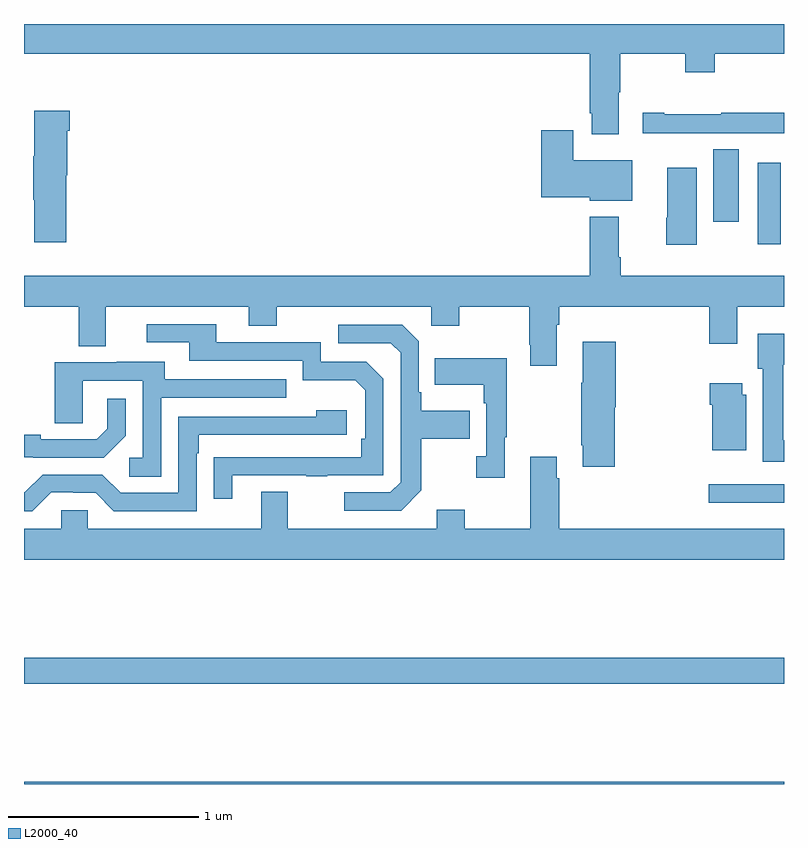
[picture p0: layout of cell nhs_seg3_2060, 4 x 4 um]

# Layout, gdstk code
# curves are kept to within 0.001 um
import gdstk
lib = gdstk.Library(unit=1e-6, precision=1e-09)
def R(c, l, rs):  # rectangles x0, y0, x1, y1
    for r in rs: c.add(gdstk.rectangle(r[:2], r[2:], *l))
def P(c, l, *ps):  # polygons
    for p in ps: c.add(gdstk.Polygon(p, *l))
L2000_40 = (2000, 40)

nhs_seg3_2060 = lib.new_cell('nhs_seg3_2060')
R(nhs_seg3_2060, L2000_40, [(217,702.4,221,702.412), (217,702.928,221,703.064), (220.605,703.88,221,703.977), (220.862,705.24,220.984,705.67), (220.628,705.36,220.762,705.74)])
P(nhs_seg3_2060, L2000_40, [(220.129,706.04),(220.137,706.04),(220.137,706.244),(220.48,706.244),(220.48,706.145),(220.635,706.145),(220.635,706.244),(221,706.244),(221,706.4),(217,706.4),(217,706.244),(219.977,706.244),(219.977,705.931),(219.989,705.931),(219.989,705.819),(220.129,705.819)],
  [(217.223,705.603),(217.228,705.603),(217.228,705.839),(217.241,705.839),(217.241,705.943),(217.055,705.943),(217.055,705.703),(217.048,705.703),(217.048,705.475),(217.055,705.475),(217.055,705.252),(217.223,705.252)],
  [(220.532,705.825),(220.866,705.825),(220.866,705.824),(221,705.824),(221,705.934),(220.67,705.934),(220.67,705.924),(220.369,705.924),(220.369,705.934),(220.257,705.934),(220.257,705.824),(220.532,705.824)],
  [(220.201,705.682),(219.892,705.682),(219.892,705.841),(219.722,705.841),(219.722,705.488),(219.978,705.488),(219.978,705.47),(220.201,705.47)],
  [(220.54,705.643),(220.385,705.643),(220.385,705.381),(220.379,705.381),(220.379,705.237),(220.54,705.237)],
  [(219.805,704.816),(219.818,704.816),(219.818,704.912),(220.606,704.912),(220.606,704.718),(220.753,704.718),(220.753,704.912),(221,704.912),(221,705.076),(220.142,705.076),(220.142,705.172),(220.129,705.172),(220.129,705.385),(219.977,705.385),(219.977,705.076),(217,705.076),(217,704.912),(217.289,704.912),(217.289,704.704),(217.429,704.704),(217.429,704.912),(218.183,704.912),(218.183,704.813),(218.331,704.813),(218.331,704.912),(219.144,704.912),(219.144,704.813),(219.291,704.813),(219.291,704.912),(219.658,704.912),(219.658,704.713),(219.665,704.713),(219.665,704.601),(219.805,704.601)],
  [(218.095,704.025),(218.485,704.025),(218.485,704.02),(218.597,704.02),(218.597,704.025),(218.892,704.025),(218.892,704.532),(218.802,704.622),(218.562,704.622),(218.562,704.724),(218.011,704.724),(218.011,704.82),(217.647,704.82),(217.647,704.724),(217.871,704.724),(217.871,704.628),(218.466,704.628),(218.466,704.525),(218.743,704.525),(218.796,704.472),(218.796,704.218),(218.776,704.218),(218.776,704.121),(217.999,704.12),(217.999,703.902),(218.095,703.902)],
  [(219.091,703.945),(219.091,704.218),(219.347,704.218),(219.347,704.365),(219.091,704.365),(219.091,704.461),(219.078,704.461),(219.078,704.73),(218.991,704.817),(218.655,704.817),(218.655,704.721),(218.931,704.721),(218.982,704.67),(218.982,703.989),(218.928,703.935),(218.685,703.935),(218.685,703.839),(218.985,703.839)],
  [(221,704.21),(220.996,704.21),(220.996,704.606),(221,704.606),(221,704.77),(220.862,704.77),(220.862,704.586),(220.889,704.586),(220.889,704.097),(221,704.097)],
  [(220.109,704.382),(220.114,704.382),(220.114,704.728),(219.941,704.728),(219.941,704.513),(219.934,704.513),(219.934,704.182),(219.941,704.182),(219.941,704.07),(220.109,704.07)],
  [(219.529,704.225),(219.541,704.225),(219.541,704.641),(219.163,704.641),(219.163,704.501),(219.42,704.501),(219.42,704.405),(219.432,704.405),(219.432,704.126),(219.381,704.126),(219.381,704.013),(219.529,704.013)],
  [(217.722,704.433),(218.381,704.433),(218.381,704.529),(217.741,704.529),(217.741,704.623),(217.487,704.623),(217.487,704.619),(217.163,704.619),(217.163,704.299),(217.308,704.299),(217.308,704.523),(217.626,704.523),(217.626,704.118),(217.554,704.118),(217.554,704.017),(217.722,704.017)],
  [(220.801,704.448),(220.78,704.448),(220.78,704.509),(220.61,704.509),(220.61,704.396),(220.622,704.396),(220.622,704.156),(220.801,704.156)],
  [(217.536,704.234),(217.536,704.428),(217.439,704.428),(217.439,704.271),(217.382,704.214),(217.087,704.214),(217.087,704.237),(217,704.237),(217,704.121),(217.048,704.121),(217.048,704.118),(217.42,704.118)],
  [(217.143,703.935),(217.259,703.935),(217.259,703.932),(217.377,703.932),(217.473,703.836),(217.908,703.836),(217.908,704.141),(217.921,704.141),(217.921,704.238),(218.698,704.238),(218.698,704.368),(218.537,704.368),(218.537,704.334),(217.812,704.334),(217.812,703.932),(217.509,703.932),(217.413,704.028),(217.098,704.028),(217.005,703.935),(217,703.935),(217,703.835),(217.043,703.835)],
  [(221,703.744),(219.818,703.744),(219.818,704.009),(219.805,704.009),(219.805,704.122),(219.665,704.122),(219.665,703.744),(219.321,703.744),(219.321,703.843),(219.173,703.843),(219.173,703.744),(218.389,703.744),(218.389,703.939),(218.249,703.939),(218.249,703.744),(217.335,703.744),(217.335,703.842),(217.197,703.842),(217.197,703.744),(217,703.744),(217,703.58),(221,703.58)])

lib.write_gds('nhs_seg3_2060.gds')
